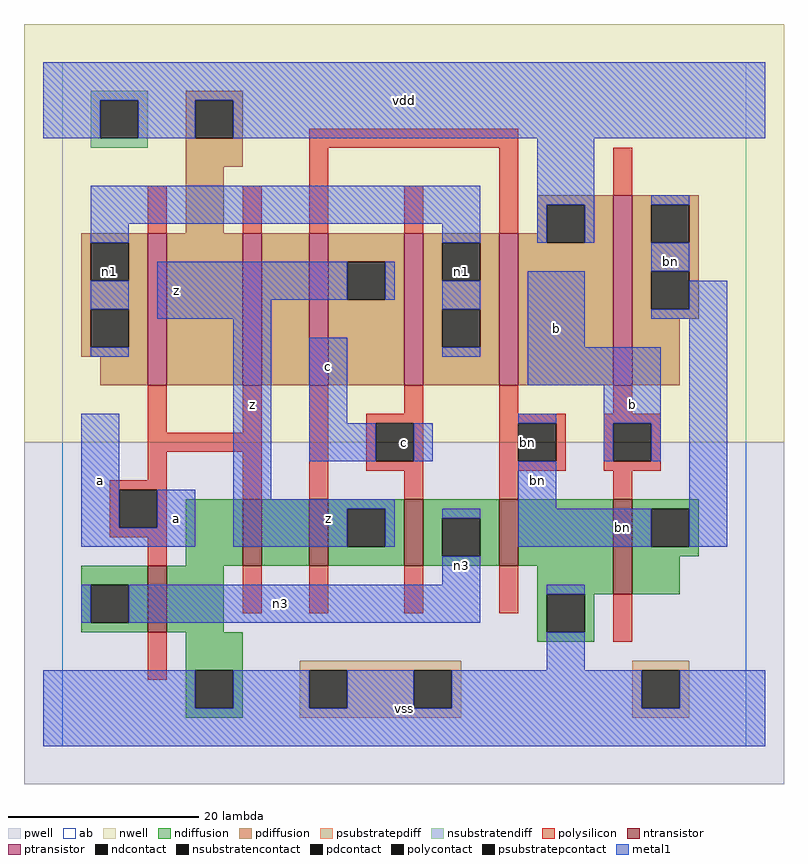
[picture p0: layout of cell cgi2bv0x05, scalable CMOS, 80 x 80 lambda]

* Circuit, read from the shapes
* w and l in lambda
.subckt cgi2bv0x05 a b bn c n1 n3 vdd vss z
M1 vss a n3 vss nfet w=7 l=2
M2 n2 a vss vss nfet w=7 l=2
M3 z bn n2 vss nfet w=7 l=2
M4 n3 c z vss nfet w=7 l=2
M5 vss bn n3 vss nfet w=7 l=2
M6 bn b vss vss nfet w=10 l=2
M7 vdd a n1 vdd pfet w=16 l=2
M8 n4 a vdd vdd pfet w=16 l=2
M9 z bn n4 vdd pfet w=16 l=2
M10 n1 c z vdd pfet w=16 l=2
M11 vdd bn n1 vdd pfet w=16 l=2
M12 bn b vdd vdd pfet w=20 l=2
.ends

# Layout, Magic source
magic
tech scmos
<< ab >>
rect 0 0 72 72
<< pwell >>
rect -4 -4 76 32
<< nwell >>
rect -4 32 76 76
<< polysilicon >>
rect 26 63 48 65
rect 9 54 11 59
rect 19 54 21 59
rect 26 54 28 63
rect 36 54 38 59
rect 46 54 48 63
rect 58 58 60 63
rect 9 33 11 38
rect 19 33 21 38
rect 9 31 21 33
rect 9 28 11 31
rect 5 27 11 28
rect 5 23 6 27
rect 10 23 11 27
rect 19 26 21 31
rect 26 26 28 38
rect 36 35 38 38
rect 32 34 38 35
rect 32 30 33 34
rect 37 30 38 34
rect 32 29 38 30
rect 36 26 38 29
rect 46 35 48 38
rect 58 35 60 38
rect 46 34 53 35
rect 46 30 48 34
rect 52 30 53 34
rect 46 29 53 30
rect 57 34 63 35
rect 57 30 58 34
rect 62 30 63 34
rect 57 29 63 30
rect 46 26 48 29
rect 58 26 60 29
rect 5 22 11 23
rect 9 19 11 22
rect 19 14 21 19
rect 26 14 28 19
rect 36 14 38 19
rect 46 14 48 19
rect 9 7 11 12
rect 58 11 60 16
<< ndiffusion >>
rect 13 19 19 26
rect 21 19 26 26
rect 28 25 36 26
rect 28 21 30 25
rect 34 21 36 25
rect 28 19 36 21
rect 38 24 46 26
rect 38 20 40 24
rect 44 20 46 24
rect 38 19 46 20
rect 48 19 58 26
rect 2 17 9 19
rect 2 13 3 17
rect 7 13 9 17
rect 2 12 9 13
rect 11 12 17 19
rect 50 16 58 19
rect 60 25 67 26
rect 60 21 62 25
rect 66 21 67 25
rect 60 20 67 21
rect 60 16 65 20
rect 50 12 51 16
rect 55 12 56 16
rect 13 8 19 12
rect 50 11 56 12
rect 13 4 14 8
rect 18 4 19 8
rect 13 3 19 4
<< pdiffusion >>
rect 13 68 19 69
rect 13 64 14 68
rect 18 64 19 68
rect 13 61 19 64
rect 13 54 17 61
rect 50 57 58 58
rect 50 54 51 57
rect 2 53 9 54
rect 2 49 3 53
rect 7 49 9 53
rect 2 46 9 49
rect 2 42 3 46
rect 7 42 9 46
rect 2 41 9 42
rect 4 38 9 41
rect 11 38 19 54
rect 21 38 26 54
rect 28 51 36 54
rect 28 47 30 51
rect 34 47 36 51
rect 28 38 36 47
rect 38 53 46 54
rect 38 49 40 53
rect 44 49 46 53
rect 38 46 46 49
rect 38 42 40 46
rect 44 42 46 46
rect 38 38 46 42
rect 48 53 51 54
rect 55 53 58 57
rect 48 38 58 53
rect 60 57 67 58
rect 60 53 62 57
rect 66 53 67 57
rect 60 50 67 53
rect 60 46 62 50
rect 66 46 67 50
rect 60 45 67 46
rect 60 38 65 45
<< metal1 >>
rect -2 68 74 72
rect -2 64 4 68
rect 8 64 14 68
rect 18 64 74 68
rect 3 55 44 59
rect 3 53 7 55
rect 40 53 44 55
rect 50 57 56 64
rect 50 53 51 57
rect 55 53 56 57
rect 62 57 66 58
rect 3 46 7 49
rect 10 47 30 51
rect 34 47 35 51
rect 62 50 66 53
rect 10 45 22 47
rect 3 41 7 42
rect 2 23 6 35
rect 10 23 14 27
rect 2 21 14 23
rect 18 26 22 45
rect 40 46 44 49
rect 26 34 30 43
rect 40 41 44 42
rect 49 42 55 50
rect 66 46 70 49
rect 62 45 70 46
rect 49 38 63 42
rect 48 34 52 35
rect 26 30 33 34
rect 37 30 39 34
rect 57 34 63 38
rect 57 30 58 34
rect 62 30 63 34
rect 18 25 35 26
rect 48 25 52 30
rect 18 21 30 25
rect 34 21 35 25
rect 40 24 44 25
rect 48 21 62 25
rect 66 21 70 45
rect 40 17 44 20
rect 2 13 3 17
rect 7 13 44 17
rect 51 16 55 17
rect 51 8 55 12
rect -2 4 14 8
rect 18 4 26 8
rect 30 4 37 8
rect 41 4 61 8
rect 65 4 74 8
rect -2 0 74 4
<< ntransistor >>
rect 19 19 21 26
rect 26 19 28 26
rect 36 19 38 26
rect 46 19 48 26
rect 9 12 11 19
rect 58 16 60 26
<< ptransistor >>
rect 9 38 11 54
rect 19 38 21 54
rect 26 38 28 54
rect 36 38 38 54
rect 46 38 48 54
rect 58 38 60 58
<< polycontact >>
rect 6 23 10 27
rect 33 30 37 34
rect 48 30 52 34
rect 58 30 62 34
<< ndcontact >>
rect 30 21 34 25
rect 40 20 44 24
rect 3 13 7 17
rect 62 21 66 25
rect 51 12 55 16
rect 14 4 18 8
<< pdcontact >>
rect 14 64 18 68
rect 3 49 7 53
rect 3 42 7 46
rect 30 47 34 51
rect 40 49 44 53
rect 40 42 44 46
rect 51 53 55 57
rect 62 53 66 57
rect 62 46 66 50
<< psubstratepcontact >>
rect 26 4 30 8
rect 37 4 41 8
rect 61 4 65 8
<< nsubstratencontact >>
rect 4 64 8 68
<< psubstratepdiff >>
rect 25 8 42 9
rect 25 4 26 8
rect 30 4 37 8
rect 41 4 42 8
rect 25 3 42 4
rect 60 8 66 9
rect 60 4 61 8
rect 65 4 66 8
rect 60 3 66 4
<< nsubstratendiff >>
rect 3 68 9 69
rect 3 64 4 68
rect 8 64 9 68
rect 3 63 9 64
<< labels >>
rlabel polycontact 49 32 49 32 6 bn
rlabel metal1 12 24 12 24 6 a
rlabel metal1 4 28 4 28 6 a
rlabel metal1 12 48 12 48 6 z
rlabel pdcontact 5 50 5 50 6 n1
rlabel metal1 28 24 28 24 6 z
rlabel metal1 28 40 28 40 6 c
rlabel metal1 20 36 20 36 6 z
rlabel metal1 36 4 36 4 6 vss
rlabel metal1 23 15 23 15 6 n3
rlabel metal1 42 19 42 19 6 n3
rlabel polycontact 36 32 36 32 6 c
rlabel metal1 50 28 50 28 6 bn
rlabel metal1 52 44 52 44 6 b
rlabel pdcontact 42 50 42 50 6 n1
rlabel metal1 36 68 36 68 6 vdd
rlabel metal1 59 23 59 23 6 bn
rlabel metal1 60 36 60 36 6 b
rlabel metal1 64 51 64 51 6 bn
<< end >>
